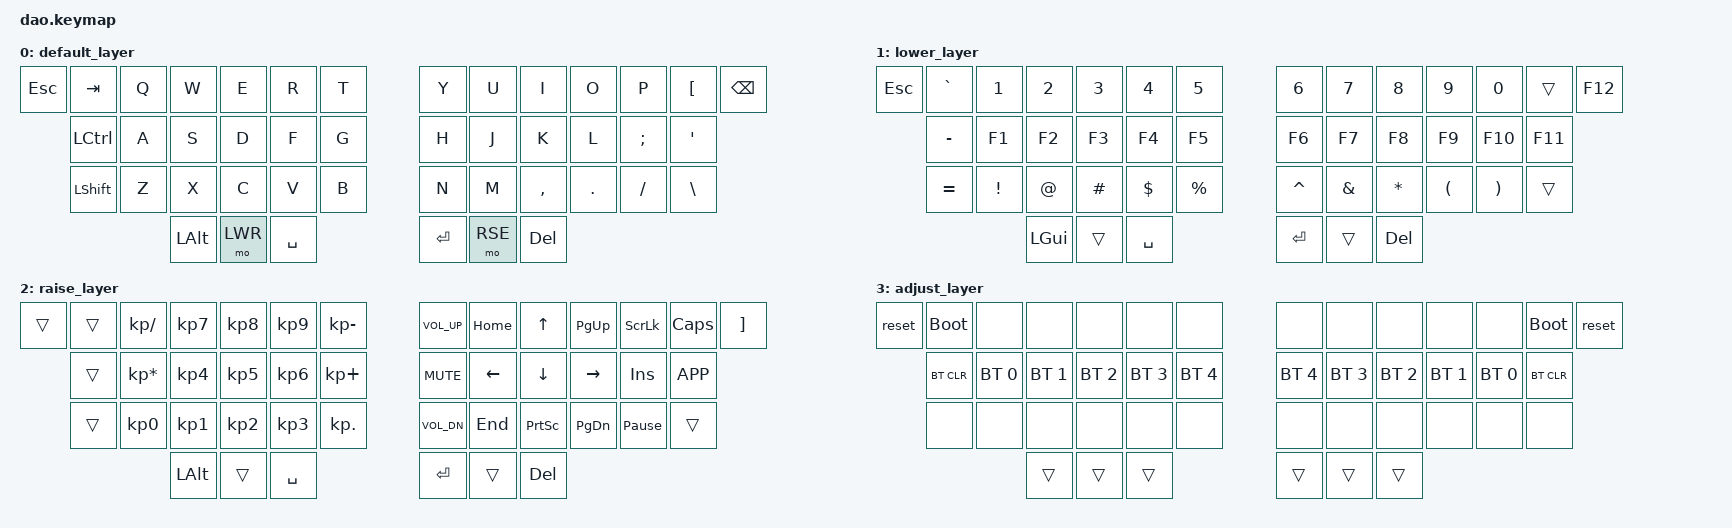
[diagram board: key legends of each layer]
/*
 * Copyright (c) 2021 Rafael Yumagulov
 *
 * SPDX-License-Identifier: MIT
 */

#include <behaviors.dtsi>
#include <dt-bindings/zmk/keys.h>
#include <dt-bindings/zmk/bt.h>

#define DEF 0
#define LWR 1
#define RSE 2
#define ADJ 3

&lt { quick_tap_ms = <200>; };
&mt { quick_tap_ms = <200>; };

/ {
        keymap {
                compatible = "zmk,keymap";

                default_layer {
// -----------------------------------------------------------------------------------------
// |  ESC |  TAB |  Q  |  W  |  E  |  R  |  T  |   |  Y  |  U   |  I  |  O  |  P  |  [   | BKSP |
//        | CTRL |  A  |  S  |  D  |  F  |  G  |   |  H  |  J   |  K  |  L  |  ;  |  '   |
//        | SHFT |  Z  |  X  |  C  |  V  |  B  |   |  N  |  M   |  ,  |  .  |  /  |  \   |
//                           | ALT | LWR | SPC |   | Ret | Rse  | Del |
                        bindings = <
 &kp ESC  &kp  TAB      &kp Q &kp W &kp E &kp R &kp T               &kp Y   &kp U   &kp I     &kp O   &kp P      &kp LBKT      &kp BSPC  
          &kp LCTRL     &kp A &kp S &kp D &kp F &kp G               &kp H   &kp J   &kp K     &kp L   &kp SEMI   &kp SQT
          &kp LSHFT     &kp Z &kp X &kp C &kp V &kp B               &kp N   &kp M   &kp COMMA &kp DOT &kp FSLH   &kp BSLH
                             &kp LALT  &mo LWR   &kp SPACE      &kp RET  &mo RSE &kp DEL
                        >;
                };
                lower_layer {
// -----------------------------------------------------------------------------------------
// |   Esc  |  ~  |  1  |  2  |  3  |  4  |  5  |   |  6  |  7  |  8  |  9  |  0  |     | F12 |
//          |  _  |  F1 |  F2 |  F3 |  F4 |  F5 |   |  F6 |  F7 |  F8 |  F9 | F10 | F11 |
//          |  +  |  !  |  @  |  #  |  $  |  %  |   |  ^  |  &  |  *  |  (  |  )  |     |
//                            | Win |     | Spc |   | Ret |     | Del |
                        bindings = <
   &kp ESC  &kp GRAVE  &kp N1   &kp N2 &kp N3   &kp N4   &kp N5           &kp N6    &kp N7   &kp N8   &kp N9   &kp N0   &trans   &kp F12 
            &kp MINUS  &kp F1   &kp F2 &kp F3   &kp F4   &kp F5           &kp F6    &kp F7   &kp F8   &kp F9   &kp F10  &kp F11         
            &kp EQUAL  &kp EXCL &kp AT &kp HASH &kp DLLR &kp PRCNT        &kp CARET &kp AMPS &kp STAR &kp LPAR &kp RPAR &trans
                                           &kp LGUI  &trans &kp SPACE   &kp RET &trans &kp DEL
                        >;
                };

                raise_layer {
// -----------------------------------------------------------------------------------------
// |     |      |  /  |  7  |  8  |  9  |  -  |   | VOLU| HOME|  Up | PGUP| SCLK| CLCK|  ]  |
//       |      |  *  |  4  |  5  |  6  |  +  |   | MUT | LEFT| Down| RGHT| INS | APP |
//       |      |  0  |  1  |  2  |  3  |  .  |   | VOLD| END | PRs | PGDN| PAUS|     |
//                          | Alt |     | Spc |   | Ret |     | Del |
                        bindings = <
   &trans &trans   &kp KP_SLASH    &kp KP_N7 &kp KP_N8 &kp KP_N9 &kp KP_MINUS           &kp C_VOL_UP &kp HOME &kp UP     &kp PG_UP &kp SLCK        &kp CAPS   &kp RBKT
          &trans   &kp KP_MULTIPLY &kp KP_N4 &kp KP_N5 &kp KP_N6 &kp KP_PLUS            &kp C_MUTE   &kp LEFT &kp DOWN   &kp RIGHT &kp INS         &kp K_APP
          &trans   &kp KP_N0       &kp KP_N1 &kp KP_N2 &kp KP_N3 &kp KP_DOT             &kp C_VOL_DN &kp END  &kp PSCRN  &kp PG_DN &kp PAUSE_BREAK &trans
                                                  &kp LALT  &trans   &kp SPACE   &kp RET &trans &kp DEL
                        >;
                };
                adjust_layer {
// -----------------------------------------------------------------------------------------
// | RST | BLDR |     |     |     |     |     |   |     |     |     |     |     | BLDR | RST |
//       | BTCLR| BT0 | BT1 | BT2 | BT3 | BT4 |   | BT4 | BT3 | BT2 | BT1 | BT0 | BTCLR|
//       |      |     |     |     |     |     |   |     |     |     |     |     |      |
//                          |     |     |     |   |     |     |     |
                        bindings = <
   &reset &bootloader  &none        &none        &none        &none        &none              &none        &none        &none        &none        &none         &bootloader &reset
          &bt BT_CLR   &bt BT_SEL 0 &bt BT_SEL 1 &bt BT_SEL 2 &bt BT_SEL 3 &bt BT_SEL 4       &bt BT_SEL 4 &bt BT_SEL 3 &bt BT_SEL 2 &bt BT_SEL 1 &bt BT_SEL 0  &bt BT_CLR
          &none        &none        &none        &none        &none        &none              &none        &none        &none        &none        &none         &none
                                                                    &trans &trans &trans   &trans &trans &trans
                        >;
                };
        };
};
